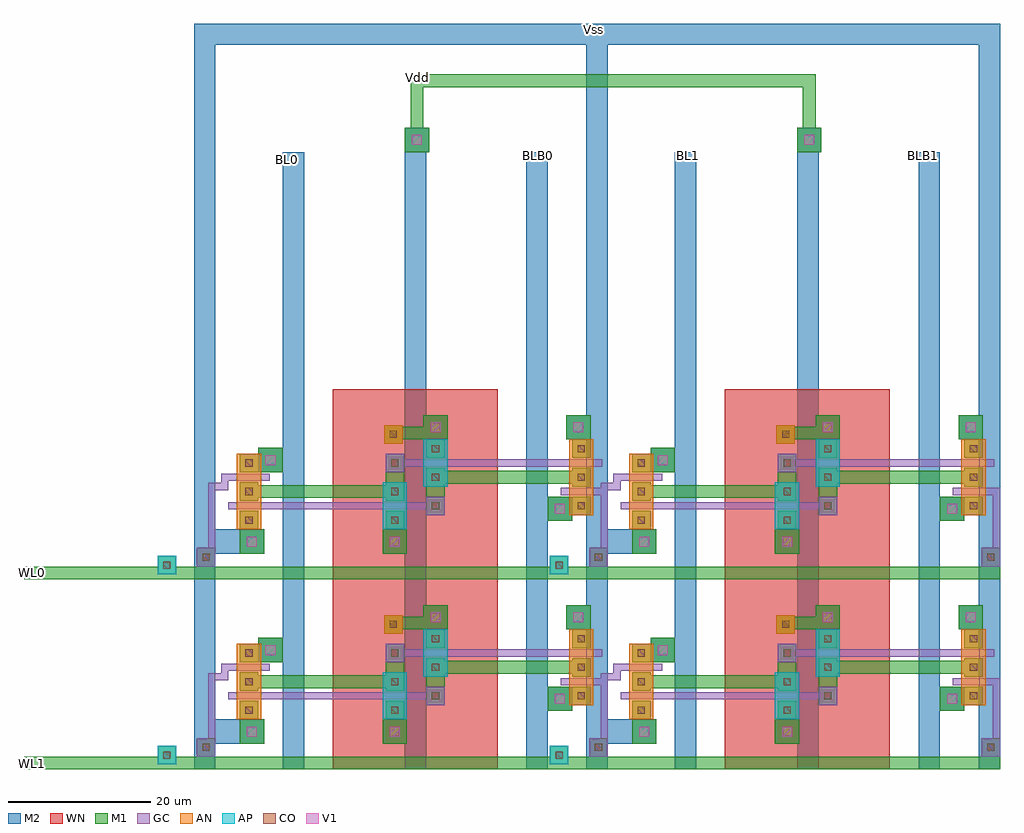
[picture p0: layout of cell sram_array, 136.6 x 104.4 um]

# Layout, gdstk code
from math import pi, radians
import gdstk
lib = gdstk.Library(unit=1e-6, precision=1e-07)
def R(c, l, rs):  # rectangles x0, y0, x1, y1
    for r in rs: c.add(gdstk.rectangle(r[:2], r[2:], *l))
def A(c, l, x, y, w, h, nx, ny, dx, dy):  # array of equal rectangles
    R(c, l, [(x+i*dx, y+j*dy, x+i*dx+w, y+j*dy+h) for i in range(nx) for j in range(ny)])
AP = (3, 1)
AN = (3, 2)
GC = (8, 1)
CO = (11, 0)
M1 = (13, 0)
V1 = (19, 0)
M2 = (20, 0)
WN = (140, 0)

via_1 = lib.new_cell('via_1')
R(via_1, M1, [(-1.7,-1.7,1.7,1.7)])
R(via_1, V1, [(-0.7,-0.7,0.7,0.7)])
R(via_1, M2, [(-1.7,-1.7,1.7,1.7)])

fet_n = lib.new_cell('fet_n')
R(fet_n, AN, [(-5.3,-1.7,5.3,1.7)])
A(fet_n, CO, -4.5, -0.5, 1, 1, 3, 1, 4, 0)
A(fet_n, M1, -5.3, -1.3, 2.6, 2.6, 3, 1, 4, 0)
fet_n.add(gdstk.FlexPath([(2,-2.9),(2,2.9)], 1, ends="flush", simple_path=True, layer=8, datatype=1))  # GC
fet_n.add(gdstk.FlexPath([(-2,-2.9),(-2,2.9)], 1, ends="flush", simple_path=True, layer=8, datatype=1))  # GC

cont_g = lib.new_cell('cont_g')
R(cont_g, GC, [(-1.3,-1.3,1.3,1.3)])
R(cont_g, CO, [(-0.5,-0.5,0.5,0.5)])
R(cont_g, M1, [(-1.3,-1.3,1.3,1.3)])

fet_p = lib.new_cell('fet_p')
R(fet_p, AP, [(-3.3,-1.7,3.3,1.7)])
R(fet_p, CO, [(-2.5,-0.5,-1.5,0.5), (1.5,-0.5,2.5,0.5)])
R(fet_p, M1, [(-3.3,-1.3,-0.7,1.3), (0.7,-1.3,3.3,1.3)])
fet_p.add(gdstk.FlexPath([(0,-2.9),(0,2.9)], 1, ends="flush", simple_path=True, layer=8, datatype=1))  # GC

cont_n = lib.new_cell('cont_n')

cont_n_1 = lib.new_cell('cont_n$1')
R(cont_n_1, AN, [(-1.3,-1.3,1.3,1.3)])
R(cont_n_1, CO, [(-0.5,-0.5,0.5,0.5)])
R(cont_n_1, M1, [(-1.3,-1.3,1.3,1.3)])

cont_p = lib.new_cell('cont_p')
R(cont_p, AP, [(-1.3,-1.3,1.3,1.3)])
R(cont_p, CO, [(-0.5,-0.5,0.5,0.5)])
R(cont_p, M1, [(-1.3,-1.3,1.3,1.3)])

sram = lib.new_cell('sram')
R(sram, GC, [(-14.4,-239.2,0.2,-238.2), (6,-239.2,7.5,-238.2), (4.4,-233.2,5.9,-232.2), (11.7,-233.2,26.3,-232.2)])
R(sram, M1, [(-24.6,-249,-22,-247.2), (7.5,-237.4,10.1,-236), (1.8,-235.4,4.4,-234), (4.2,-229.4,7.5,-227.6)])
R(sram, M2, [(-25,-249,-22,-222.4), (-12.6,-249,-9.6,-222.4), (4.5,-249,7.5,-222.4), (21.5,-249,24.5,-222.4), (29.9,-249,32.9,-222.4), (-22,-245.4,-18.6,-242)])
R(sram, WN, [(-5.6,-249,17.5,-222.4)])
sram.add(gdstk.FlexPath([(-21.1,-247.2),(-21.1,-248.1),(32.9,-248.1)], 1.8, ends="flush", simple_path=True, layer=13, datatype=0))  # M1
sram.add(gdstk.FlexPath([(10.1,-234.7),(13.7,-234.7),(27.9,-234.7)], 1.8, ends="flush", simple_path=True, layer=13, datatype=0))  # M1
sram.add(gdstk.FlexPath([(-16,-236.7),(1.8,-236.7)], 1.8, ends="flush", simple_path=True, layer=13, datatype=0))  # M1
sram.add(gdstk.FlexPath([(32.1,-236.7),(32.4,-236.7),(32.4,-244.6)], 1, ends="flush", simple_path=True, layer=8, datatype=1))  # GC
sram.add(gdstk.FlexPath([(-22.5,-244.6),(-22.5,-236),(-20.7,-236),(-20.7,-234.2)], 1, ends="flush", simple_path=True, layer=8, datatype=1))  # GC
sram.add(gdstk.Reference(via_1, (-14.3,-232.3)))
sram.add(gdstk.Reference(via_1, (26.2,-239.1)))
sram.add(gdstk.Reference(via_1, (-16.9,-243.7)))
sram.add(gdstk.Reference(via_1, (28.8,-227.7)))
sram.add(gdstk.Reference(via_1, (3.1,-243.7)))
sram.add(gdstk.Reference(via_1, (8.8,-227.7)))
sram.add(gdstk.Reference(fet_n, (-17.3,-236.7), rotation=3*pi/2))
sram.add(gdstk.Reference(cont_g, (8.8,-238.7)))
sram.add(gdstk.Reference(cont_g, (3.1,-232.7)))
sram.add(gdstk.Reference(fet_n, (29.2,-234.7), rotation=3*pi/2))
sram.add(gdstk.Reference(fet_p, (8.8,-232.7), rotation=pi/2))
sram.add(gdstk.Reference(fet_p, (3.1,-238.7), rotation=3*pi/2))
sram.add(gdstk.Reference(cont_g, (-23.3,-245.9)))
sram.add(gdstk.Reference(cont_n, (2.9,-228.7)))
sram.add(gdstk.Reference(cont_n_1, (2.9,-228.7)))
sram.add(gdstk.Reference(cont_g, (31.6,-245.9)))
sram.add(gdstk.Reference(cont_p, (-28.8,-247)))
sram.add(gdstk.Label('WL', (31.8,-248.5), layer=48, texttype=0))
sram.add(gdstk.Label('WL', (-22.6,-234.5), layer=48, texttype=0))
sram.add(gdstk.Label('Q', (-10.8,-237.2), layer=48, texttype=0))
sram.add(gdstk.Label('QB', (20,-234.9), layer=48, texttype=0))
sram.add(gdstk.Label('Vss', (-23.1,-223.1), layer=49, texttype=0))
sram.add(gdstk.Label('Vss', (32.2,-223.1), layer=49, texttype=0))
sram.add(gdstk.Label('BLB', (22.9,-223.2), layer=49, texttype=0))
sram.add(gdstk.Label('BL', (-10.7,-223), layer=49, texttype=0))
sram.add(gdstk.Label('Vdd', (6.6,-223), layer=49, texttype=0))

sram_array = lib.new_cell('sram_array')
sram_array.add(gdstk.FlexPath([(-65.4,-284.2),(-92.2,-284.2)], 1.8, ends="flush", simple_path=True, layer=13, datatype=0))  # M1
sram_array.add(gdstk.FlexPath([(-65.4,-310.8),(-92.2,-310.8)], 1.8, ends="flush", simple_path=True, layer=13, datatype=0))  # M1
sram_array.add(gdstk.FlexPath([(17.7,-221.9),(17.7,-215.3),(-37.2,-215.3),(-37.2,-221.9)], 1.8, ends="flush", simple_path=True, layer=13, datatype=0))  # M1
sram_array.add(gdstk.FlexPath([(-66.9,-258.5),(-66.9,-208.8),(-13.5,-208.8)], 3, ends="flush", simple_path=True, layer=20, datatype=0))  # M2
sram_array.add(gdstk.FlexPath([(-54.5,-311.7),(-54.5,-225.3)], 3, ends="flush", simple_path=True, layer=20, datatype=0))  # M2
sram_array.add(gdstk.FlexPath([(-20.4,-311.7),(-20.4,-225.3)], 3, ends="flush", simple_path=True, layer=20, datatype=0))  # M2
sram_array.add(gdstk.FlexPath([(-37.4,-311.7),(-37.4,-225.3)], 3, ends="flush", simple_path=True, layer=20, datatype=0))  # M2
sram_array.add(gdstk.FlexPath([(-12,-311.7),(-12,-225.3)], 3, ends="flush", simple_path=True, layer=20, datatype=0))  # M2
sram_array.add(gdstk.FlexPath([(0.4,-311.7),(0.4,-225.3)], 3, ends="flush", simple_path=True, layer=20, datatype=0))  # M2
sram_array.add(gdstk.FlexPath([(0.4,-311.7),(0.4,-225.3)], 3, ends="flush", simple_path=True, layer=20, datatype=0))  # M2
sram_array.add(gdstk.FlexPath([(17.5,-311.7),(17.5,-225.3)], 3, ends="flush", simple_path=True, layer=20, datatype=0))  # M2
sram_array.add(gdstk.FlexPath([(34.5,-311.7),(34.5,-225.3)], 3, ends="flush", simple_path=True, layer=20, datatype=0))  # M2
sram_array.add(gdstk.FlexPath([(42.9,-311.5),(42.9,-225.1)], 3, ends="flush", simple_path=True, layer=20, datatype=0))  # M2
sram_array.add(gdstk.FlexPath([(-12,-225.3),(-12,-208.8),(42.9,-208.8),(42.9,-225.1),(42.9,-225.1)], 3, ends="flush", simple_path=True, layer=20, datatype=0))  # M2
r = gdstk.Reference(sram, (-43.4,-62.7)); r.repetition = gdstk.Repetition(2, 2, v1=(54.9,0), v2=(0,26.6)); sram_array.add(r)
r = gdstk.Reference(via_1, (-37.2,-223.6)); r.repetition = gdstk.Repetition(2, 1, v1=(54.9,0), v2=(0,0)); sram_array.add(r)
sram_array.add(gdstk.Label('Vdd', (-37.1,-214.8), layer=48, texttype=0))
sram_array.add(gdstk.Label('WL0', (-91,-284.2), layer=48, texttype=0))
sram_array.add(gdstk.Label('WL1', (-91,-310.8), layer=48, texttype=0))
sram_array.add(gdstk.Label('BL0', (-55.3,-226.3), layer=49, texttype=0))
sram_array.add(gdstk.Label('BL1', (0.8,-225.7), layer=49, texttype=0))
sram_array.add(gdstk.Label('BLB0', (-20.2,-225.7), layer=49, texttype=0))
sram_array.add(gdstk.Label('BLB1', (33.7,-225.7), layer=49, texttype=0))
sram_array.add(gdstk.Label('Vss', (-12.5,-208.1), layer=49, texttype=0))

lib.write_gds('sram_array.gds')
